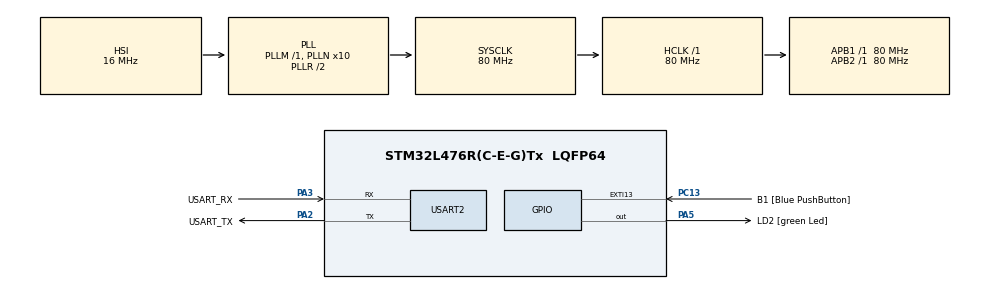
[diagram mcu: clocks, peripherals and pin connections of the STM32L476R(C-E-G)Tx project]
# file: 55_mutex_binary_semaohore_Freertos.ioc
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FREERTOS.Tasks01=defaultTask,0,128,StartDefaultTask,Default,NULL,Dynamic,NULL,NULL
Mcu.Family=STM32L4
Mcu.Name=STM32L476R(C-E-G)Tx
Mcu.Package=LQFP64
NVIC.PriorityGroup=NVIC_PRIORITYGROUP_4
PA13\ (JTMS-SWDIO).GPIO_Label=TMS
PA13\ (JTMS-SWDIO).Mode=Serial_Wire
PA13\ (JTMS-SWDIO).Signal=SYS_JTMS-SWDIO
PA14\ (JTCK-SWCLK).GPIO_Label=TCK
PA14\ (JTCK-SWCLK).Mode=Serial_Wire
PA14\ (JTCK-SWCLK).Signal=SYS_JTCK-SWCLK
PA2.GPIO_Label=USART_TX
PA2.GPIO_Mode=GPIO_MODE_AF_PP
PA2.GPIO_PuPd=GPIO_NOPULL
PA2.GPIO_Speed=GPIO_SPEED_FREQ_VERY_HIGH
PA2.Mode=Asynchronous
PA2.Signal=USART2_TX
PA3.GPIO_Label=USART_RX
PA3.GPIO_Mode=GPIO_MODE_AF_PP
PA3.GPIO_PuPd=GPIO_NOPULL
PA3.GPIO_Speed=GPIO_SPEED_FREQ_VERY_HIGH
PA3.Mode=Asynchronous
PA3.Signal=USART2_RX
PA5.GPIO_Label=LD2 [green Led]
PA5.GPIO_ModeDefaultOutputPP=GPIO_MODE_OUTPUT_PP
PA5.GPIO_PuPd=GPIO_NOPULL
PA5.GPIO_Speed=GPIO_SPEED_FREQ_LOW
PA5.Signal=GPIO_Output
PB3\ (JTDO-TRACESWO).GPIO_Label=SWO
PB3\ (JTDO-TRACESWO).Signal=SYS_JTDO-SWO
PC13.GPIO_Label=B1 [Blue PushButton]
PC13.GPIO_ModeDefaultEXTI=GPIO_MODE_IT_FALLING
PC13.GPIO_PuPd=GPIO_NOPULL
PC13.Signal=GPXTI13
PC14-OSC32_IN\ (PC14).Mode=LSE-External-Oscillator
PC14-OSC32_IN\ (PC14).Signal=RCC_OSC32_IN
PC15-OSC32_OUT\ (PC15).Mode=LSE-External-Oscillator
PC15-OSC32_OUT\ (PC15).Signal=RCC_OSC32_OUT
PH0-OSC_IN\ (PH0).Signal=RCC_OSC_IN
PH1-OSC_OUT\ (PH1).Signal=RCC_OSC_OUT
ProjectManager.HeapSize=0x200
ProjectManager.StackSize=0x400
ProjectManager.TargetToolchain=STM32CubeIDE
RCC.ADCFreq_Value=64000000
RCC.AHBFreq_Value=80000000
RCC.APB1Freq_Value=80000000
RCC.APB1TimFreq_Value=80000000
RCC.APB2Freq_Value=80000000
RCC.APB2TimFreq_Value=80000000
RCC.CortexFreq_Value=80000000
RCC.HCLKFreq_Value=80000000
RCC.HSE_VALUE=8000000
RCC.HSI_VALUE=16000000
RCC.MSI_VALUE=4000000
RCC.PLLN=10
RCC.PLLSourceVirtual=RCC_PLLSOURCE_HSI
RCC.PREFETCH_ENABLE=1
RCC.SYSCLKFreq_VALUE=80000000
RCC.SYSCLKSource=RCC_SYSCLKSOURCE_PLLCLK
RCC.USBFreq_Value=64000000
RCC.VCOOutputFreq_Value=160000000
USART2.VirtualMode-Asynchronous=VM_ASYNC
VP_FREERTOS_VS_CMSIS_V1.Mode=CMSIS_V1
board=NUCLEO-L476RG

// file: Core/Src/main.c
/* USER CODE BEGIN Header */
/**
  ******************************************************************************
  * @file           : main.c
  * @brief          : Main program body
  ******************************************************************************
  * @attention
  *
  * Copyright (c) 2025 STMicroelectronics.
  * All rights reserved.
  *
  * This software is licensed under terms that can be found in the LICENSE file
  * in the root directory of this software component.
  * If no LICENSE file comes with this software, it is provided AS-IS.
  *
  ******************************************************************************
  */
/* USER CODE END Header */
#include "main.h"
#include "cmsis_os.h"

/* USER CODE BEGIN Includes */
#include<stdio.h>
#include<stdarg.h>

/* USER CODE END Includes */

UART_HandleTypeDef huart2;

osThreadId defaultTaskHandle;
/* USER CODE BEGIN PV */
xSemaphoreHandle mutex;
void debug_printf(const char *fmt, ...)
{
	char buffer[256];
	va_list args;
	va_start(args, fmt);
	vsnprintf(buffer, sizeof(buffer), fmt, args);
	va_end(args);
	uint16_t i = 0;
	while(buffer[i] != '\0')
	{
		ITM_SendChar(buffer[i]);
		i++;
	}
}

void vTask1(void *vParams)
{
	while(1)
	{
		if(xSemaphoreTake(mutex,portMAX_DELAY)==pdTRUE)
		{
			debug_printf("Task 1 is running\r\n");
			xSemaphoreGive(mutex);

		}
		vTaskDelay(500/portTICK_RATE_MS);
	}
}
void vTask2(void *vParams)
{
	while(1)
	{
		if(xSemaphoreTake(mutex,portMAX_DELAY)==pdTRUE)
		{
			debug_printf("Task 2 is running\r\n");
			xSemaphoreGive(mutex);
		}
		vTaskDelay(500/portTICK_RATE_MS);

	}

}
/* USER CODE END PV */

void SystemClock_Config(void);
static void MX_GPIO_Init(void);
static void MX_USART2_UART_Init(void);
void StartDefaultTask(void const * argument);

int main(void)
{

  /* MCU Configuration--------------------------------------------------------*/

  /* Reset of all peripherals, Initializes the Flash interface and the Systick. */
  HAL_Init();

  /* Configure the system clock */
  SystemClock_Config();

  /* Initialize all configured peripherals */
  MX_GPIO_Init();
  MX_USART2_UART_Init();

  /* Create the thread(s) */
  /* definition and creation of defaultTask */
  osThreadDef(defaultTask, StartDefaultTask, osPriorityNormal, 0, 128);
  defaultTaskHandle = osThreadCreate(osThread(defaultTask), NULL);

  /* USER CODE BEGIN RTOS_THREADS */
  /* add threads, ... */
  	mutex=xSemaphoreCreateMutex();
    if(mutex!=NULL)
    {
  	  xTaskCreate(vTask1,"task1",200,NULL,2,NULL);
  	  xTaskCreate(vTask2,"task2",200,NULL,2,NULL);

  	  vTaskStartScheduler();
    }
    else
    {
  	  debug_printf("mutex is not created\r\n");
    }
  /* USER CODE END RTOS_THREADS */

  /* Start scheduler */
  osKernelStart();

  /* We should never get here as control is now taken by the scheduler */

  /* Infinite loop */
  while (1)
  {

  }
}

void SystemClock_Config(void)
{
  RCC_OscInitTypeDef RCC_OscInitStruct = {0};
  RCC_ClkInitTypeDef RCC_ClkInitStruct = {0};

  /** Configure the main internal regulator output voltage
  */
  if (HAL_PWREx_ControlVoltageScaling(PWR_REGULATOR_VOLTAGE_SCALE1) != HAL_OK)
  {
    Error_Handler();
  }

  /** Initializes the RCC Oscillators according to the specified parameters
  * in the RCC_OscInitTypeDef structure.
  */
  RCC_OscInitStruct.OscillatorType = RCC_OSCILLATORTYPE_HSI;
  RCC_OscInitStruct.HSIState = RCC_HSI_ON;
  RCC_OscInitStruct.HSICalibrationValue = RCC_HSICALIBRATION_DEFAULT;
  RCC_OscInitStruct.PLL.PLLState = RCC_PLL_ON;
  RCC_OscInitStruct.PLL.PLLSource = RCC_PLLSOURCE_HSI;
  RCC_OscInitStruct.PLL.PLLM = 1;
  RCC_OscInitStruct.PLL.PLLN = 10;
  RCC_OscInitStruct.PLL.PLLP = RCC_PLLP_DIV7;
  RCC_OscInitStruct.PLL.PLLQ = RCC_PLLQ_DIV2;
  RCC_OscInitStruct.PLL.PLLR = RCC_PLLR_DIV2;
  if (HAL_RCC_OscConfig(&RCC_OscInitStruct) != HAL_OK)
  {
    Error_Handler();
  }

  /** Initializes the CPU, AHB and APB buses clocks
  */
  RCC_ClkInitStruct.ClockType = RCC_CLOCKTYPE_HCLK|RCC_CLOCKTYPE_SYSCLK
                              |RCC_CLOCKTYPE_PCLK1|RCC_CLOCKTYPE_PCLK2;
  RCC_ClkInitStruct.SYSCLKSource = RCC_SYSCLKSOURCE_PLLCLK;
  RCC_ClkInitStruct.AHBCLKDivider = RCC_SYSCLK_DIV1;
  RCC_ClkInitStruct.APB1CLKDivider = RCC_HCLK_DIV1;
  RCC_ClkInitStruct.APB2CLKDivider = RCC_HCLK_DIV1;

  if (HAL_RCC_ClockConfig(&RCC_ClkInitStruct, FLASH_LATENCY_4) != HAL_OK)
  {
    Error_Handler();
  }
}

static void MX_USART2_UART_Init(void)
{

  huart2.Instance = USART2;
  huart2.Init.BaudRate = 115200;
  huart2.Init.WordLength = UART_WORDLENGTH_8B;
  huart2.Init.StopBits = UART_STOPBITS_1;
  huart2.Init.Parity = UART_PARITY_NONE;
  huart2.Init.Mode = UART_MODE_TX_RX;
  huart2.Init.HwFlowCtl = UART_HWCONTROL_NONE;
  huart2.Init.OverSampling = UART_OVERSAMPLING_16;
  huart2.Init.OneBitSampling = UART_ONE_BIT_SAMPLE_DISABLE;
  huart2.AdvancedInit.AdvFeatureInit = UART_ADVFEATURE_NO_INIT;
  if (HAL_UART_Init(&huart2) != HAL_OK)
  {
    Error_Handler();
  }

}

static void MX_GPIO_Init(void)
{
  GPIO_InitTypeDef GPIO_InitStruct = {0};

  /* GPIO Ports Clock Enable */
  __HAL_RCC_GPIOC_CLK_ENABLE();
  __HAL_RCC_GPIOH_CLK_ENABLE();
  __HAL_RCC_GPIOA_CLK_ENABLE();
  __HAL_RCC_GPIOB_CLK_ENABLE();

  /*Configure GPIO pin Output Level */
  HAL_GPIO_WritePin(LD2_GPIO_Port, LD2_Pin, GPIO_PIN_RESET);

  /*Configure GPIO pin : B1_Pin */
  GPIO_InitStruct.Pin = B1_Pin;
  GPIO_InitStruct.Mode = GPIO_MODE_IT_FALLING;
  GPIO_InitStruct.Pull = GPIO_NOPULL;
  HAL_GPIO_Init(B1_GPIO_Port, &GPIO_InitStruct);

  /*Configure GPIO pin : LD2_Pin */
  GPIO_InitStruct.Pin = LD2_Pin;
  GPIO_InitStruct.Mode = GPIO_MODE_OUTPUT_PP;
  GPIO_InitStruct.Pull = GPIO_NOPULL;
  GPIO_InitStruct.Speed = GPIO_SPEED_FREQ_LOW;
  HAL_GPIO_Init(LD2_GPIO_Port, &GPIO_InitStruct);

}

void StartDefaultTask(void const * argument)
{
  for(;;)
  {
    osDelay(1);
  }
}

void Error_Handler(void)
{
  __disable_irq();
  while (1)
  {
  }
}
